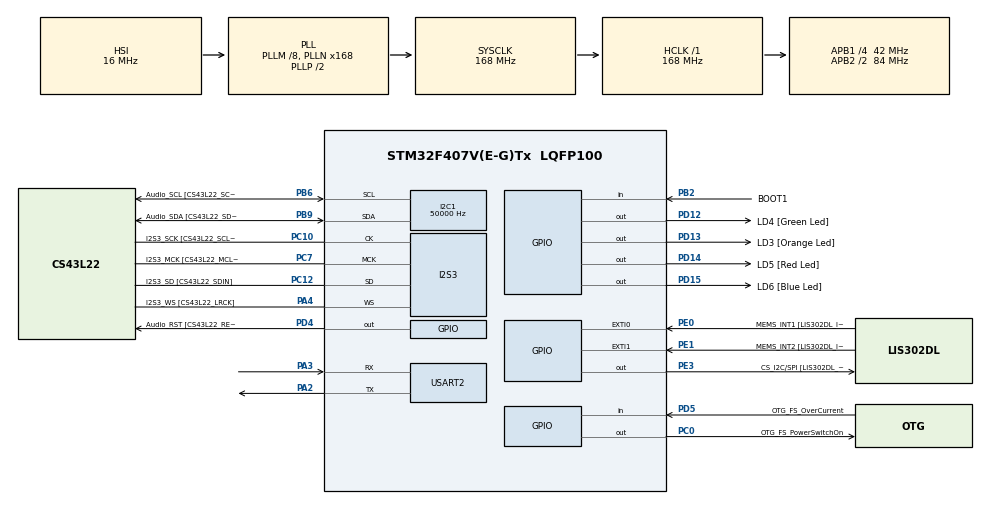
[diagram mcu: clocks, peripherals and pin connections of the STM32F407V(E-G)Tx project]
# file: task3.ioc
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I2C1.ClockSpeed=50000
I2S3.AudioFreq=I2S_AUDIOFREQ_44K
I2S3.ErrorAudioFreq=-2.34 %
I2S3.RealAudioFreq=42.968 KHz
I2S3.Standard=I2S_STANDARD_PHILIPS
Mcu.Family=STM32F4
Mcu.Name=STM32F407V(E-G)Tx
Mcu.Package=LQFP100
NVIC.PriorityGroup=NVIC_PRIORITYGROUP_0
PA10.GPIO_Label=OTG_FS_ID
PA10.GPIO_Mode=GPIO_MODE_AF_PP
PA10.GPIO_PuPd=GPIO_NOPULL
PA10.GPIO_Speed=GPIO_SPEED_FREQ_LOW
PA10.Signal=USB_OTG_FS_ID
PA11.GPIO_Label=OTG_FS_DM
PA11.GPIO_Mode=GPIO_MODE_AF_PP
PA11.GPIO_PuPd=GPIO_NOPULL
PA11.GPIO_Speed=GPIO_SPEED_FREQ_LOW
PA11.Signal=USB_OTG_FS_DM
PA12.GPIO_Label=OTG_FS_DP
PA12.GPIO_Mode=GPIO_MODE_AF_PP
PA12.GPIO_PuPd=GPIO_NOPULL
PA12.GPIO_Speed=GPIO_SPEED_FREQ_LOW
PA12.Signal=USB_OTG_FS_DP
PA13.GPIO_Label=SWDIO
PA13.Signal=SYS_JTMS-SWDIO
PA14.GPIO_Label=SWCLK
PA14.Signal=SYS_JTCK-SWCLK
PA2.Mode=Asynchronous
PA2.Signal=USART2_TX
PA3.Mode=Asynchronous
PA3.Signal=USART2_RX
PA4.GPIO_Label=I2S3_WS [CS43L22_LRCK]
PA4.GPIO_Mode=GPIO_MODE_AF_PP
PA4.GPIO_PuPd=GPIO_NOPULL
PA4.GPIO_Speed=GPIO_SPEED_FREQ_LOW
PA4.Mode=Half_Duplex_Master
PA4.Signal=I2S3_WS
PA5.GPIO_Label=SPI1_SCK [LIS302DL_SCL/SPC]
PA5.GPIO_Mode=GPIO_MODE_AF_PP
PA5.GPIO_PuPd=GPIO_NOPULL
PA5.GPIO_Speed=GPIO_SPEED_FREQ_LOW
PA5.Signal=SPI1_SCK
PA6.GPIO_Label=SPI1_MISO [LIS302DL_SDO]
PA6.GPIO_Mode=GPIO_MODE_AF_PP
PA6.GPIO_PuPd=GPIO_NOPULL
PA6.GPIO_Speed=GPIO_SPEED_FREQ_LOW
PA6.Signal=SPI1_MISO
PA7.GPIO_Label=SPI1_MOSI [LIS302DL_SDA/SDI/SDO]
PA7.GPIO_Mode=GPIO_MODE_AF_PP
PA7.GPIO_PuPd=GPIO_NOPULL
PA7.GPIO_Speed=GPIO_SPEED_FREQ_LOW
PA7.Signal=SPI1_MOSI
PA9.GPIO_Label=VBUS_FS
PA9.GPIO_Mode=GPIO_MODE_INPUT
PA9.GPIO_PuPd=GPIO_NOPULL
PA9.Signal=USB_OTG_FS_VBUS
PB10.GPIO_Label=CLK_IN [MP45DT02_CLK]
PB10.GPIO_Mode=GPIO_MODE_AF_PP
PB10.GPIO_PuPd=GPIO_NOPULL
PB10.GPIO_Speed=GPIO_SPEED_FREQ_LOW
PB10.Signal=I2S2_CK
PB2.GPIO_Label=BOOT1
PB2.GPIO_Mode=GPIO_MODE_INPUT
PB2.GPIO_PuPd=GPIO_NOPULL
PB2.Signal=GPIO_Input
PB3.GPIO_Label=SWO
PB3.Signal=SYS_JTDO-SWO
PB6.GPIO_Label=Audio_SCL [CS43L22_SCL]
PB6.GPIO_Mode=GPIO_MODE_AF_OD
PB6.GPIO_PuPd=GPIO_NOPULL
PB6.GPIO_Speed=GPIO_SPEED_FREQ_LOW
PB6.Mode=I2C
PB6.Signal=I2C1_SCL
PB9.GPIO_Label=Audio_SDA [CS43L22_SDA]
PB9.GPIO_Mode=GPIO_MODE_AF_OD
PB9.GPIO_PuPd=GPIO_NOPULL
PB9.GPIO_Speed=GPIO_SPEED_FREQ_LOW
PB9.Mode=I2C
PB9.Signal=I2C1_SDA
PC0.GPIO_Label=OTG_FS_PowerSwitchOn
PC0.GPIO_PuPd=GPIO_NOPULL
PC0.GPIO_Speed=GPIO_SPEED_FREQ_LOW
PC0.PinState=GPIO_PIN_SET
PC0.Signal=GPIO_Output
PC10.GPIO_Label=I2S3_SCK [CS43L22_SCLK]
PC10.GPIO_Mode=GPIO_MODE_AF_PP
PC10.GPIO_PuPd=GPIO_NOPULL
PC10.GPIO_Speed=GPIO_SPEED_FREQ_LOW
PC10.Mode=Half_Duplex_Master
PC10.Signal=I2S3_CK
PC12.GPIO_Label=I2S3_SD [CS43L22_SDIN]
PC12.GPIO_Mode=GPIO_MODE_AF_PP
PC12.GPIO_PuPd=GPIO_NOPULL
PC12.GPIO_Speed=GPIO_SPEED_FREQ_LOW
PC12.Mode=Half_Duplex_Master
PC12.Signal=I2S3_SD
PC14-OSC32_IN.GPIO_Label=PC14-OSC32_IN
PC14-OSC32_IN.Signal=RCC_OSC32_IN
PC15-OSC32_OUT.GPIO_Label=PC15-OSC32_OUT
PC15-OSC32_OUT.Signal=RCC_OSC32_OUT
PC3.GPIO_Label=PDM_OUT [MP45DT02_DOUT]
PC3.GPIO_Mode=GPIO_MODE_AF_PP
PC3.GPIO_PuPd=GPIO_NOPULL
PC3.GPIO_Speed=GPIO_SPEED_FREQ_LOW
PC3.Signal=I2S2_SD
PC7.GPIO_Label=I2S3_MCK [CS43L22_MCLK]
PC7.GPIO_Mode=GPIO_MODE_AF_PP
PC7.GPIO_PuPd=GPIO_NOPULL
PC7.GPIO_Speed=GPIO_SPEED_FREQ_LOW
PC7.Mode=Master_Clock_Activated
PC7.Signal=I2S3_MCK
PD12.GPIO_Label=LD4 [Green Led]
PD12.GPIO_PuPd=GPIO_NOPULL
PD12.GPIO_Speed=GPIO_SPEED_FREQ_LOW
PD12.Signal=GPIO_Output
PD13.GPIO_Label=LD3 [Orange Led]
PD13.GPIO_PuPd=GPIO_NOPULL
PD13.GPIO_Speed=GPIO_SPEED_FREQ_LOW
PD13.Signal=GPIO_Output
PD14.GPIO_Label=LD5 [Red Led]
PD14.GPIO_PuPd=GPIO_NOPULL
PD14.GPIO_Speed=GPIO_SPEED_FREQ_LOW
PD14.Signal=GPIO_Output
PD15.GPIO_Label=LD6 [Blue Led]
PD15.GPIO_PuPd=GPIO_NOPULL
PD15.GPIO_Speed=GPIO_SPEED_FREQ_LOW
PD15.Signal=GPIO_Output
PD4.GPIO_Label=Audio_RST [CS43L22_RESET]
PD4.GPIO_PuPd=GPIO_NOPULL
PD4.GPIO_Speed=GPIO_SPEED_FREQ_LOW
PD4.Signal=GPIO_Output
PD5.GPIO_Label=OTG_FS_OverCurrent
PD5.GPIO_Mode=GPIO_MODE_INPUT
PD5.GPIO_PuPd=GPIO_NOPULL
PD5.Signal=GPIO_Input
PE0.GPIO_Label=MEMS_INT1 [LIS302DL_INT1]
PE0.Signal=GPXTI0
PE1.GPIO_Label=MEMS_INT2 [LIS302DL_INT2]
PE1.GPIO_ModeDefaultEXTI=GPIO_MODE_EVT_RISING
PE1.GPIO_PuPd=GPIO_NOPULL
PE1.Signal=GPXTI1
PE3.GPIO_Label=CS_I2C/SPI [LIS302DL_CS_I2C/SPI]
PE3.GPIO_PuPd=GPIO_NOPULL
PE3.GPIO_Speed=GPIO_SPEED_FREQ_LOW
PE3.Signal=GPIO_Output
PH0-OSC_IN.GPIO_Label=PH0-OSC_IN
PH0-OSC_IN.Signal=RCC_OSC_IN
PH1-OSC_OUT.GPIO_Label=PH1-OSC_OUT
PH1-OSC_OUT.Signal=RCC_OSC_OUT
ProjectManager.HeapSize=0x200
ProjectManager.StackSize=0x400
ProjectManager.TargetToolchain=SW4STM32
RCC.48MHZClocksFreq_Value=48000000
RCC.AHBFreq_Value=168000000
RCC.APB1CLKDivider=RCC_HCLK_DIV4
RCC.APB1Freq_Value=42000000
RCC.APB1TimFreq_Value=84000000
RCC.APB2CLKDivider=RCC_HCLK_DIV2
RCC.APB2Freq_Value=84000000
RCC.APB2TimFreq_Value=168000000
RCC.CortexFreq_Value=168000000
RCC.HCLKFreq_Value=168000000
RCC.HSE_VALUE=8000000
RCC.HSI_VALUE=16000000
RCC.LSE_VALUE=32768
RCC.PLLI2SN=88
RCC.PLLI2SR=4
RCC.PLLM=8
RCC.PLLN=168
RCC.PLLQ=7
RCC.SYSCLKFreq_VALUE=168000000
RCC.SYSCLKSource=RCC_SYSCLKSOURCE_PLLCLK
RCC.VCOOutputFreq_Value=336000000
TIM1.Period=99
TIM1.Prescaler=1680
VP_TIM1_VS_ClockSourceINT.Mode=Internal
board=STM32F407G-DISC1

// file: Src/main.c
/**
  ******************************************************************************
  * File Name          : main.c
  * Description        : Main program body
  ******************************************************************************
  *
  * COPYRIGHT(c) 2016 STMicroelectronics
  *
  * Redistribution and use in source and binary forms, with or without modification,
  * are permitted provided that the following conditions are met:
  *   1. Redistributions of source code must retain the above copyright notice,
  *      this list of conditions and the following disclaimer.
  *   2. Redistributions in binary form must reproduce the above copyright notice,
  *      this list of conditions and the following disclaimer in the documentation
  *      and/or other materials provided with the distribution.
  *   3. Neither the name of STMicroelectronics nor the names of its contributors
  *      may be used to endorse or promote products derived from this software
  *      without specific prior written permission.
  *
  * THIS SOFTWARE IS PROVIDED BY THE COPYRIGHT HOLDERS AND CONTRIBUTORS "AS IS"
  * AND ANY EXPRESS OR IMPLIED WARRANTIES, INCLUDING, BUT NOT LIMITED TO, THE
  * IMPLIED WARRANTIES OF MERCHANTABILITY AND FITNESS FOR A PARTICULAR PURPOSE ARE
  * DISCLAIMED. IN NO EVENT SHALL THE COPYRIGHT HOLDER OR CONTRIBUTORS BE LIABLE
  * FOR ANY DIRECT, INDIRECT, INCIDENTAL, SPECIAL, EXEMPLARY, OR CONSEQUENTIAL
  * DAMAGES (INCLUDING, BUT NOT LIMITED TO, PROCUREMENT OF SUBSTITUTE GOODS OR
  * SERVICES; LOSS OF USE, DATA, OR PROFITS; OR BUSINESS INTERRUPTION) HOWEVER
  * CAUSED AND ON ANY THEORY OF LIABILITY, WHETHER IN CONTRACT, STRICT LIABILITY,
  * OR TORT (INCLUDING NEGLIGENCE OR OTHERWISE) ARISING IN ANY WAY OUT OF THE USE
  * OF THIS SOFTWARE, EVEN IF ADVISED OF THE POSSIBILITY OF SUCH DAMAGE.
  *
  ******************************************************************************
  */
#include "main.h"
#include "stm32f4xx_hal.h"

I2C_HandleTypeDef hi2c1;

I2S_HandleTypeDef hi2s3;

TIM_HandleTypeDef htim1;

UART_HandleTypeDef huart2;

/* USER CODE BEGIN PV */
/* Private variables ---------------------------------------------------------*/

/* USER CODE END PV */

void SystemClock_Config(void);
void Error_Handler(void);
static void MX_GPIO_Init(void);
static void MX_I2C1_Init(void);
static void MX_I2S3_Init(void);
static void MX_TIM1_Init(void);
static void MX_USART2_UART_Init(void);

/* USER CODE BEGIN PFP */
/* Private function prototypes -----------------------------------------------*/

/* USER CODE END PFP */

/* USER CODE BEGIN 0 */

uint16_t temp[100];
uint8_t sound_send_data[2];
uint8_t chord;

int Transmit_Audio_Data(uint8_t address,uint8_t data){
	sound_send_data[0] = address;
	sound_send_data[1] = data;
	return HAL_I2C_Master_Transmit(&hi2c1,0x94,sound_send_data,2,50);
}

uint8_t Mapping_Choord(uint8_t character) {
	if(character >= 'a' && character <= 'z')
		character = character - 'a' + 'A';
	switch(character) {
	case 'A': return 0x0A;
	case 'S': return 0x1A;
	case 'D': return 0x2D;
	case 'F': return 0x3D;
	case 'G': return 0x4D;
	case 'H': return 0x5D;
	case 'J': return 0x6D;
	case 'K': return 0x7D;
	case 'L': return 0x8D;
	}

	return 0x00;
}

void Play_Sound(uint8_t character){

	chord = Mapping_Choord(character);
	if(chord == 0x00) return;

	uint8_t uart_message[20];
	sprintf(uart_message, "\r\nChord: %c\0", character);

	HAL_UART_Transmit(&huart2,(uint8_t*)uart_message, strlen(uart_message),100);

	Transmit_Audio_Data(0x1E,0x20);
	Transmit_Audio_Data(0x1C,chord);
	Transmit_Audio_Data(0x1E,0xE0);

	int i;
	for(i = 0; i < 100; i++) HAL_I2S_Transmit(&hi2s3, temp, 100, 10);
}

void Audio_Init(){

	int i;
	for(i = 0; i < 100; i++) temp[i] = 0;

	HAL_GPIO_WritePin(GPIOD, GPIO_PIN_4, 0);
	HAL_Delay(500);
	HAL_GPIO_WritePin(GPIOD, GPIO_PIN_4, 1); //Reset is set Up (Power CS43L22)
	HAL_Delay(500);

	Transmit_Audio_Data(0x00,0x99);
	Transmit_Audio_Data(0x47,0x80);
	Transmit_Audio_Data(0x32,0x80);
	Transmit_Audio_Data(0x32,0x00);
	Transmit_Audio_Data(0x00,0x00);
	Transmit_Audio_Data(0x1E,0xC0);
	Transmit_Audio_Data(0x02,0x9E);

	// Adjust Volume
	// Transmit_Audio_Data(0x1D,0x0F);

}
/* USER CODE END 0 */

int main(void)
{

  /* MCU Configuration----------------------------------------------------------*/

  /* Reset of all peripherals, Initializes the Flash interface and the Systick. */
  HAL_Init();

  /* Configure the system clock */
  SystemClock_Config();

  /* Initialize all configured peripherals */
  MX_GPIO_Init();
  MX_I2C1_Init();
  MX_I2S3_Init();
  MX_TIM1_Init();
  MX_USART2_UART_Init();

  /* USER CODE BEGIN 2 */
  uint8_t character;
  Audio_Init();
  /* USER CODE END 2 */

  /* Infinite loop */
  while (1)
  {

  /* USER CODE BEGIN 3 */
//	  Play_Sound('A');
//	  HAL_Delay(100);
//	  Play_Sound('S');
//	  HAL_Delay(100);
//	  Play_Sound('D');
//	  HAL_Delay(100);
//	  Play_Sound('F');
//	  HAL_Delay(100);
//	  Play_Sound('G');
//	  HAL_Delay(100);

	  if(HAL_UART_Receive(&huart2, &character, 1, 100) == HAL_OK) {
		  Play_Sound(character);
		  HAL_Delay(100);
	  }
  }
  /* USER CODE END 3 */

}

/** System Clock Configuration
*/
void SystemClock_Config(void)
{

  RCC_OscInitTypeDef RCC_OscInitStruct;
  RCC_ClkInitTypeDef RCC_ClkInitStruct;
  RCC_PeriphCLKInitTypeDef PeriphClkInitStruct;

    /**Configure the main internal regulator output voltage
    */
  __HAL_RCC_PWR_CLK_ENABLE();

  __HAL_PWR_VOLTAGESCALING_CONFIG(PWR_REGULATOR_VOLTAGE_SCALE1);

    /**Initializes the CPU, AHB and APB busses clocks
    */
  RCC_OscInitStruct.OscillatorType = RCC_OSCILLATORTYPE_HSI;
  RCC_OscInitStruct.HSIState = RCC_HSI_ON;
  RCC_OscInitStruct.HSICalibrationValue = 16;
  RCC_OscInitStruct.PLL.PLLState = RCC_PLL_ON;
  RCC_OscInitStruct.PLL.PLLSource = RCC_PLLSOURCE_HSI;
  RCC_OscInitStruct.PLL.PLLM = 8;
  RCC_OscInitStruct.PLL.PLLN = 168;
  RCC_OscInitStruct.PLL.PLLP = RCC_PLLP_DIV2;
  RCC_OscInitStruct.PLL.PLLQ = 7;
  if (HAL_RCC_OscConfig(&RCC_OscInitStruct) != HAL_OK)
  {
    Error_Handler();
  }

    /**Initializes the CPU, AHB and APB busses clocks
    */
  RCC_ClkInitStruct.ClockType = RCC_CLOCKTYPE_HCLK|RCC_CLOCKTYPE_SYSCLK
                              |RCC_CLOCKTYPE_PCLK1|RCC_CLOCKTYPE_PCLK2;
  RCC_ClkInitStruct.SYSCLKSource = RCC_SYSCLKSOURCE_PLLCLK;
  RCC_ClkInitStruct.AHBCLKDivider = RCC_SYSCLK_DIV1;
  RCC_ClkInitStruct.APB1CLKDivider = RCC_HCLK_DIV4;
  RCC_ClkInitStruct.APB2CLKDivider = RCC_HCLK_DIV2;

  if (HAL_RCC_ClockConfig(&RCC_ClkInitStruct, FLASH_LATENCY_5) != HAL_OK)
  {
    Error_Handler();
  }

  PeriphClkInitStruct.PeriphClockSelection = RCC_PERIPHCLK_I2S;
  PeriphClkInitStruct.PLLI2S.PLLI2SN = 88;
  PeriphClkInitStruct.PLLI2S.PLLI2SR = 4;
  if (HAL_RCCEx_PeriphCLKConfig(&PeriphClkInitStruct) != HAL_OK)
  {
    Error_Handler();
  }

    /**Configure the Systick interrupt time
    */
  HAL_SYSTICK_Config(HAL_RCC_GetHCLKFreq()/1000);

    /**Configure the Systick
    */
  HAL_SYSTICK_CLKSourceConfig(SYSTICK_CLKSOURCE_HCLK);

  /* SysTick_IRQn interrupt configuration */
  HAL_NVIC_SetPriority(SysTick_IRQn, 0, 0);
}

/* I2C1 init function */
static void MX_I2C1_Init(void)
{

  hi2c1.Instance = I2C1;
  hi2c1.Init.ClockSpeed = 50000;
  hi2c1.Init.DutyCycle = I2C_DUTYCYCLE_2;
  hi2c1.Init.OwnAddress1 = 0;
  hi2c1.Init.AddressingMode = I2C_ADDRESSINGMODE_7BIT;
  hi2c1.Init.DualAddressMode = I2C_DUALADDRESS_DISABLE;
  hi2c1.Init.OwnAddress2 = 0;
  hi2c1.Init.GeneralCallMode = I2C_GENERALCALL_DISABLE;
  hi2c1.Init.NoStretchMode = I2C_NOSTRETCH_DISABLE;
  if (HAL_I2C_Init(&hi2c1) != HAL_OK)
  {
    Error_Handler();
  }

}

/* I2S3 init function */
static void MX_I2S3_Init(void)
{

  hi2s3.Instance = SPI3;
  hi2s3.Init.Mode = I2S_MODE_MASTER_TX;
  hi2s3.Init.Standard = I2S_STANDARD_PHILIPS;
  hi2s3.Init.DataFormat = I2S_DATAFORMAT_16B;
  hi2s3.Init.MCLKOutput = I2S_MCLKOUTPUT_ENABLE;
  hi2s3.Init.AudioFreq = I2S_AUDIOFREQ_44K;
  hi2s3.Init.CPOL = I2S_CPOL_LOW;
  hi2s3.Init.ClockSource = I2S_CLOCK_PLL;
  hi2s3.Init.FullDuplexMode = I2S_FULLDUPLEXMODE_DISABLE;
  if (HAL_I2S_Init(&hi2s3) != HAL_OK)
  {
    Error_Handler();
  }

}

/* TIM1 init function */
static void MX_TIM1_Init(void)
{

  TIM_ClockConfigTypeDef sClockSourceConfig;
  TIM_MasterConfigTypeDef sMasterConfig;

  htim1.Instance = TIM1;
  htim1.Init.Prescaler = 1680;
  htim1.Init.CounterMode = TIM_COUNTERMODE_UP;
  htim1.Init.Period = 99;
  htim1.Init.ClockDivision = TIM_CLOCKDIVISION_DIV1;
  htim1.Init.RepetitionCounter = 0;
  if (HAL_TIM_Base_Init(&htim1) != HAL_OK)
  {
    Error_Handler();
  }

  sClockSourceConfig.ClockSource = TIM_CLOCKSOURCE_INTERNAL;
  if (HAL_TIM_ConfigClockSource(&htim1, &sClockSourceConfig) != HAL_OK)
  {
    Error_Handler();
  }

  sMasterConfig.MasterOutputTrigger = TIM_TRGO_RESET;
  sMasterConfig.MasterSlaveMode = TIM_MASTERSLAVEMODE_DISABLE;
  if (HAL_TIMEx_MasterConfigSynchronization(&htim1, &sMasterConfig) != HAL_OK)
  {
    Error_Handler();
  }

}

/* USART2 init function */
static void MX_USART2_UART_Init(void)
{

  huart2.Instance = USART2;
  huart2.Init.BaudRate = 115200;
  huart2.Init.WordLength = UART_WORDLENGTH_8B;
  huart2.Init.StopBits = UART_STOPBITS_1;
  huart2.Init.Parity = UART_PARITY_NONE;
  huart2.Init.Mode = UART_MODE_TX_RX;
  huart2.Init.HwFlowCtl = UART_HWCONTROL_NONE;
  huart2.Init.OverSampling = UART_OVERSAMPLING_16;
  if (HAL_UART_Init(&huart2) != HAL_OK)
  {
    Error_Handler();
  }

}

/** Configure pins as
        * Analog
        * Input
        * Output
        * EVENT_OUT
        * EXTI
     PC3   ------> I2S2_SD
     PA5   ------> SPI1_SCK
     PA6   ------> SPI1_MISO
     PA7   ------> SPI1_MOSI
     PB10   ------> I2S2_CK
     PA9   ------> USB_OTG_FS_VBUS
     PA10   ------> USB_OTG_FS_ID
     PA11   ------> USB_OTG_FS_DM
     PA12   ------> USB_OTG_FS_DP
*/
static void MX_GPIO_Init(void)
{

  GPIO_InitTypeDef GPIO_InitStruct;

  /* GPIO Ports Clock Enable */
  __HAL_RCC_GPIOE_CLK_ENABLE();
  __HAL_RCC_GPIOC_CLK_ENABLE();
  __HAL_RCC_GPIOH_CLK_ENABLE();
  __HAL_RCC_GPIOA_CLK_ENABLE();
  __HAL_RCC_GPIOB_CLK_ENABLE();
  __HAL_RCC_GPIOD_CLK_ENABLE();

  /*Configure GPIO pin Output Level */
  HAL_GPIO_WritePin(CS_I2C_SPI_GPIO_Port, CS_I2C_SPI_Pin, GPIO_PIN_RESET);

  /*Configure GPIO pin Output Level */
  HAL_GPIO_WritePin(OTG_FS_PowerSwitchOn_GPIO_Port, OTG_FS_PowerSwitchOn_Pin, GPIO_PIN_SET);

  /*Configure GPIO pin Output Level */
  HAL_GPIO_WritePin(GPIOD, LD4_Pin|LD3_Pin|LD5_Pin|LD6_Pin
                          |Audio_RST_Pin, GPIO_PIN_RESET);

  /*Configure GPIO pin : CS_I2C_SPI_Pin */
  GPIO_InitStruct.Pin = CS_I2C_SPI_Pin;
  GPIO_InitStruct.Mode = GPIO_MODE_OUTPUT_PP;
  GPIO_InitStruct.Pull = GPIO_NOPULL;
  GPIO_InitStruct.Speed = GPIO_SPEED_FREQ_LOW;
  HAL_GPIO_Init(CS_I2C_SPI_GPIO_Port, &GPIO_InitStruct);

  /*Configure GPIO pin : OTG_FS_PowerSwitchOn_Pin */
  GPIO_InitStruct.Pin = OTG_FS_PowerSwitchOn_Pin;
  GPIO_InitStruct.Mode = GPIO_MODE_OUTPUT_PP;
  GPIO_InitStruct.Pull = GPIO_NOPULL;
  GPIO_InitStruct.Speed = GPIO_SPEED_FREQ_LOW;
  HAL_GPIO_Init(OTG_FS_PowerSwitchOn_GPIO_Port, &GPIO_InitStruct);

  /*Configure GPIO pin : PDM_OUT_Pin */
  GPIO_InitStruct.Pin = PDM_OUT_Pin;
  GPIO_InitStruct.Mode = GPIO_MODE_AF_PP;
  GPIO_InitStruct.Pull = GPIO_NOPULL;
  GPIO_InitStruct.Speed = GPIO_SPEED_FREQ_LOW;
  GPIO_InitStruct.Alternate = GPIO_AF5_SPI2;
  HAL_GPIO_Init(PDM_OUT_GPIO_Port, &GPIO_InitStruct);

  /*Configure GPIO pins : PA5 PA6 PA7 */
  GPIO_InitStruct.Pin = GPIO_PIN_5|GPIO_PIN_6|GPIO_PIN_7;
  GPIO_InitStruct.Mode = GPIO_MODE_AF_PP;
  GPIO_InitStruct.Pull = GPIO_NOPULL;
  GPIO_InitStruct.Speed = GPIO_SPEED_FREQ_LOW;
  GPIO_InitStruct.Alternate = GPIO_AF5_SPI1;
  HAL_GPIO_Init(GPIOA, &GPIO_InitStruct);

  /*Configure GPIO pin : BOOT1_Pin */
  GPIO_InitStruct.Pin = BOOT1_Pin;
  GPIO_InitStruct.Mode = GPIO_MODE_INPUT;
  GPIO_InitStruct.Pull = GPIO_NOPULL;
  HAL_GPIO_Init(BOOT1_GPIO_Port, &GPIO_InitStruct);

  /*Configure GPIO pin : CLK_IN_Pin */
  GPIO_InitStruct.Pin = CLK_IN_Pin;
  GPIO_InitStruct.Mode = GPIO_MODE_AF_PP;
  GPIO_InitStruct.Pull = GPIO_NOPULL;
  GPIO_InitStruct.Speed = GPIO_SPEED_FREQ_LOW;
  GPIO_InitStruct.Alternate = GPIO_AF5_SPI2;
  HAL_GPIO_Init(CLK_IN_GPIO_Port, &GPIO_InitStruct);

  /*Configure GPIO pins : LD4_Pin LD3_Pin LD5_Pin LD6_Pin
                           Audio_RST_Pin */
  GPIO_InitStruct.Pin = LD4_Pin|LD3_Pin|LD5_Pin|LD6_Pin
                          |Audio_RST_Pin;
  GPIO_InitStruct.Mode = GPIO_MODE_OUTPUT_PP;
  GPIO_InitStruct.Pull = GPIO_NOPULL;
  GPIO_InitStruct.Speed = GPIO_SPEED_FREQ_LOW;
  HAL_GPIO_Init(GPIOD, &GPIO_InitStruct);

  /*Configure GPIO pin : VBUS_FS_Pin */
  GPIO_InitStruct.Pin = VBUS_FS_Pin;
  GPIO_InitStruct.Mode = GPIO_MODE_INPUT;
  GPIO_InitStruct.Pull = GPIO_NOPULL;
  HAL_GPIO_Init(VBUS_FS_GPIO_Port, &GPIO_InitStruct);

  /*Configure GPIO pins : OTG_FS_ID_Pin OTG_FS_DM_Pin OTG_FS_DP_Pin */
  GPIO_InitStruct.Pin = OTG_FS_ID_Pin|OTG_FS_DM_Pin|OTG_FS_DP_Pin;
  GPIO_InitStruct.Mode = GPIO_MODE_AF_PP;
  GPIO_InitStruct.Pull = GPIO_NOPULL;
  GPIO_InitStruct.Speed = GPIO_SPEED_FREQ_LOW;
  GPIO_InitStruct.Alternate = GPIO_AF10_OTG_FS;
  HAL_GPIO_Init(GPIOA, &GPIO_InitStruct);

  /*Configure GPIO pin : OTG_FS_OverCurrent_Pin */
  GPIO_InitStruct.Pin = OTG_FS_OverCurrent_Pin;
  GPIO_InitStruct.Mode = GPIO_MODE_INPUT;
  GPIO_InitStruct.Pull = GPIO_NOPULL;
  HAL_GPIO_Init(OTG_FS_OverCurrent_GPIO_Port, &GPIO_InitStruct);

  /*Configure GPIO pin : MEMS_INT1_Pin */
  GPIO_InitStruct.Pin = MEMS_INT1_Pin;
  GPIO_InitStruct.Mode = GPIO_MODE_IT_RISING;
  GPIO_InitStruct.Pull = GPIO_NOPULL;
  HAL_GPIO_Init(MEMS_INT1_GPIO_Port, &GPIO_InitStruct);

  /*Configure GPIO pin : MEMS_INT2_Pin */
  GPIO_InitStruct.Pin = MEMS_INT2_Pin;
  GPIO_InitStruct.Mode = GPIO_MODE_EVT_RISING;
  GPIO_InitStruct.Pull = GPIO_NOPULL;
  HAL_GPIO_Init(MEMS_INT2_GPIO_Port, &GPIO_InitStruct);

}

void Error_Handler(void)
{
  while(1)
  {
  }
}

/************************ (C) COPYRIGHT STMicroelectronics *****END OF FILE****/
